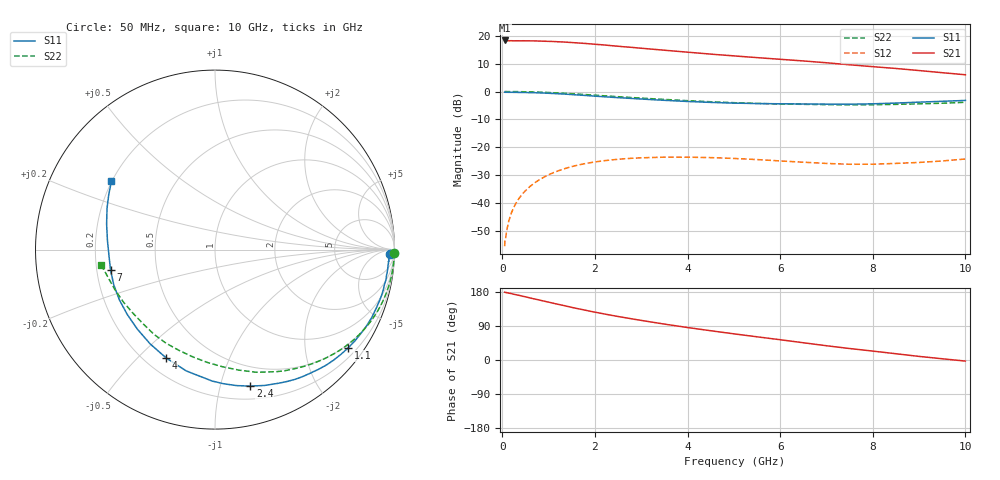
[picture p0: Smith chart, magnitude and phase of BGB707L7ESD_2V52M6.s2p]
!  Infineon Technologies AG
!  BGB707L7ESD RU919007 w#7 Sample Build #08493 Teil Nr. 3
!  Vce = 2.5V, Ic = 2.6mA
!  DATUM: 30.06.2009 10:16:30
# GHz  S  MA  R  50
!f  S11  S21  S12  S22
!GHz  Mag  Ang  Mag  Ang  Mag  Ang  Mag  Ang
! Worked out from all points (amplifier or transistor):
!   52 points, 50 MHz to 10 GHz, reference 50 ohm
!   highest |S21| = 18.4 dB at 60 MHz (marker M1)
!   |S21| within 3 dB of that: start of sweep to 3.141 GHz
!   unconditionally stable (mu >= 1): 6.907 GHz to end of sweep
!   at 130 MHz: K = 0.02, MSG = 32.8 dB, |S12| = -47.3 dB
!   at 1.4 GHz: K = 0.08, MSG = 22.6 dB, |S12| = -27.5 dB
!   at 10 GHz: K = 1.09, MAG = 13.3 dB, |S12| = -24.3 dB
!   lowest NFmin = 0.40 dB at 100 MHz
!   S11 on the Smith chart (normalised r, x): 50 MHz: 37, -38; 1.1 GHz: 0.41, -2.98; 2.4 GHz: 0.31, -1.24; 4 GHz: 0.28, -0.61; 7 GHz: 0.26, -0.09; 10 GHz: 0.20, +0.29
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0.05  0.9742 -1.5  8.128 178.9  0.001657 98.6  0.9987 -1.1
0.06  0.9738 -2.0  8.284 178.6  0.002162 83.1  0.9991 -1.4
0.08  0.9687 -2.3  8.145 177.8  0.002559 87.2  0.999 -1.9
0.09  0.9702 -3.2  8.213 178.2  0.002981 87.0  0.9993 -2.1
0.1  0.9695 -3.4  8.175 177.3  0.003238 88.7  0.9986 -2.4
0.14  0.9691 -4.7  8.183 176.4  0.004726 87.8  0.9979 -3.3
0.35  0.964 -11.7  8.177 170.8  0.01161 82.7  0.9942 -8.3
0.7  0.9519 -23.4  8.136 160.9  0.02285 74.3  0.9795 -16.7
1.1  0.9217 -36.5  7.934 149.8  0.03466 65.2  0.951 -26.0
1.5  0.8816 -49.2  7.601 138.9  0.04466 56.5  0.9124 -34.9
1.8  0.8493 -58.4  7.31 131.2  0.05078 50.5  0.8808 -41.2
2.2  0.8054 -70.0  6.875 121.6  0.0571 43.0  0.8375 -49.2
2.4  0.7853 -75.5  6.627 117.0  0.05944 39.7  0.8169 -52.9
2.8  0.7493 -86.2  6.219 108.5  0.06308 33.7  0.7791 -60.0
3.5  0.6946 -103.3  5.531 94.7  0.06603 24.9  0.721 -71.4
4  0.6622 -114.2  5.1 85.7  0.066 19.8  0.6847 -78.7
4.5  0.6378 -124.4  4.707 77.2  0.06481 15.9  0.6546 -86.2
5.5  0.6079 -143.6  4.069 61.2  0.05973 10.9  0.6106 -101.6
6.5  0.5973 -160.7  3.547 45.5  0.05356 11.4  0.5887 -117.5
7  0.5931 -168.9  3.289 37.6  0.05092 13.7  0.5817 -125.7
8.5  0.6205 166.7  2.597 16.5  0.051 26.6  0.5877 -150.0
10  0.6916 146.5  2.001 -2.9  0.06123 35.9  0.64 -172.4
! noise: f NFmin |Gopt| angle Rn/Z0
0.1  0.4  0.63  2  0.21
0.45  0.47  0.63  4  0.21
0.9  0.57  0.65  13  0.2
1.8  0.64  0.51  35  0.2
5  1.07  0.41  77  0.19
10  1.82  0.45  -140  0.13
